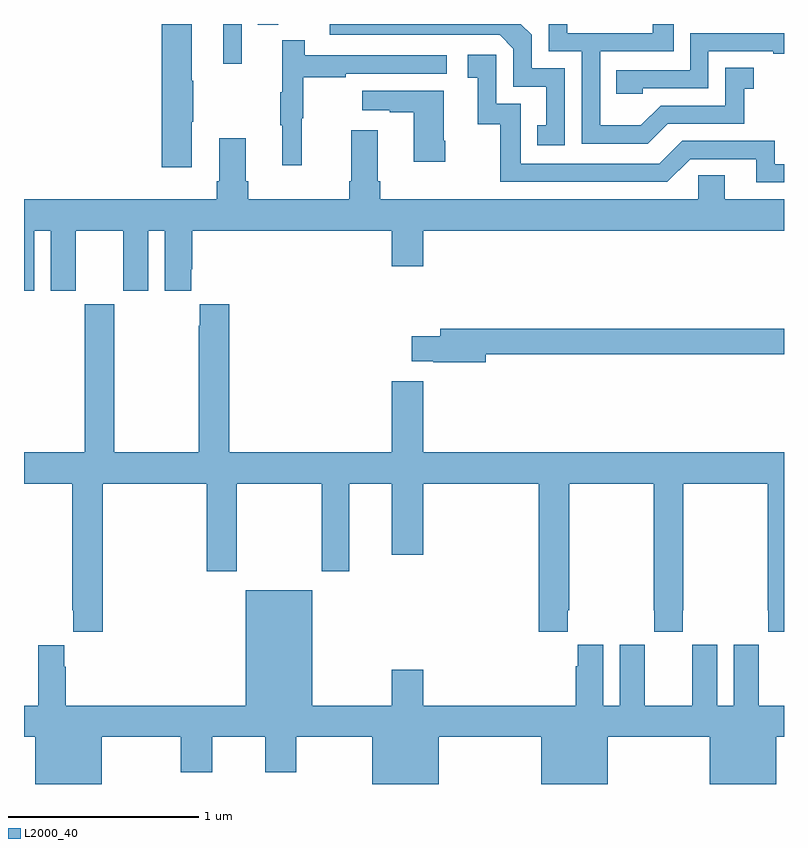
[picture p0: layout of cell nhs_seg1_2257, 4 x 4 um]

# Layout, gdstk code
import gdstk
lib = gdstk.Library(unit=1e-6, precision=1e-09)
def R(c, l, rs):  # rectangles x0, y0, x1, y1
    for r in rs: c.add(gdstk.rectangle(r[:2], r[2:], *l))
def P(c, l, *ps):  # polygons
    for p in ps: c.add(gdstk.Polygon(p, *l))
L2000_40 = (2000, 40)

nhs_seg1_2257 = lib.new_cell('nhs_seg1_2257')
R(nhs_seg1_2257, L2000_40, [(236.048,505.989,236.145,506.199), (236.23,506.194,236.338,506.199)])
P(nhs_seg1_2257, L2000_40, [(237.846,505.965),(237.672,505.965),(237.672,506.142),(237.615,506.199),(236.61,506.199),(236.61,506.142),(237.504,506.142),(237.576,506.07),(237.576,505.869),(237.749,505.869),(237.749,505.665),(237.7,505.665),(237.7,505.56),(237.846,505.56)],
  [(238.387,505.674),(238.791,505.674),(238.791,505.859),(238.84,505.859),(238.84,505.969),(238.692,505.969),(238.692,505.77),(238.35,505.77),(238.246,505.666),(238.032,505.666),(238.032,506.055),(238.421,506.055),(238.421,506.199),(238.31,506.199),(238.31,506.151),(237.859,506.151),(237.859,506.199),(237.762,506.199),(237.762,506.055),(237.936,506.055),(237.936,505.569),(238.282,505.569)],
  [(235.882,505.684),(235.89,505.684),(235.89,505.901),(235.882,505.901),(235.882,506.199),(235.724,506.199),(235.724,505.446),(235.882,505.446)],
  [(238.257,505.86),(238.602,505.86),(238.602,506.055),(238.943,506.055),(238.943,506.043),(239,506.043),(239,506.151),(238.506,506.151),(238.506,505.956),(238.117,505.956),(238.117,505.833),(238.257,505.833)],
  [(236.462,505.704),(236.47,505.704),(236.47,505.918),(236.693,505.918),(236.693,505.938),(237.226,505.938),(237.226,506.034),(236.477,506.034),(236.477,506.113),(236.36,506.113),(236.36,505.841),(236.349,505.841),(236.349,505.667),(236.36,505.667),(236.36,505.455),(236.462,505.455)],
  [(239,505.461),(238.95,505.461),(238.95,505.584),(238.464,505.584),(238.344,505.464),(237.615,505.464),(237.615,505.779),(237.486,505.779),(237.486,506.038),(237.336,506.038),(237.336,505.917),(237.389,505.917),(237.389,505.671),(237.507,505.671),(237.507,505.368),(238.386,505.368),(238.506,505.488),(238.853,505.488),(238.853,505.365),(239,505.365)],
  [(237.216,505.585),(237.208,505.585),(237.208,505.849),(236.781,505.849),(236.781,505.745),(236.924,505.745),(236.924,505.735),(237.05,505.735),(237.05,505.473),(237.216,505.473)],
  [(236.936,504.924),(237.1,504.924),(237.1,505.112),(239,505.112),(239,505.276),(238.687,505.276),(238.687,505.403),(238.548,505.403),(238.548,505.276),(236.876,505.276),(236.876,505.372),(236.863,505.372),(236.863,505.639),(236.723,505.639),(236.723,505.372),(236.711,505.372),(236.711,505.276),(236.18,505.276),(236.18,505.372),(236.167,505.372),(236.167,505.597),(236.027,505.597),(236.027,505.372),(236.015,505.372),(236.015,505.276),(235,505.276),(235,504.795),(235.054,504.795),(235.054,505.112),(235.142,505.112),(235.142,504.795),(235.273,504.795),(235.273,505.112),(235.523,505.112),(235.523,504.795),(235.654,504.795),(235.654,505.112),(235.742,505.112),(235.742,504.795),(235.879,504.795),(235.879,504.907),(235.886,504.907),(235.886,505.112),(236.936,505.112)],
  [(235.415,503.78),(235.961,503.78),(235.961,503.319),(236.121,503.319),(236.121,503.78),(236.566,503.78),(236.566,503.319),(236.713,503.319),(236.713,503.78),(236.936,503.78),(236.936,503.406),(237.1,503.406),(237.1,503.78),(237.71,503.78),(237.71,503.001),(237.863,503.001),(237.863,503.113),(237.87,503.113),(237.87,503.78),(238.315,503.78),(238.315,503.113),(238.317,503.113),(238.317,503.001),(238.467,503.001),(238.467,503.113),(238.47,503.113),(238.47,503.78),(238.915,503.78),(238.915,503.113),(238.917,503.113),(238.917,503.001),(239,503.001),(239,503.944),(237.1,503.944),(237.1,504.319),(236.936,504.319),(236.936,503.944),(236.081,503.944),(236.081,504.724),(235.925,504.724),(235.925,504.611),(235.921,504.611),(235.921,503.944),(235.476,503.944),(235.476,504.724),(235.321,504.724),(235.321,503.944),(235,503.944),(235,503.78),(235.255,503.78),(235.255,503.113),(235.259,503.113),(235.259,503.001),(235.415,503.001)],
  [(237.43,504.46),(239,504.46),(239,504.596),(237.191,504.596),(237.191,504.555),(237.042,504.555),(237.042,504.425),(237.154,504.425),(237.154,504.418),(237.43,504.418)],
  [(235.408,502.448),(235.826,502.448),(235.826,502.26),(235.99,502.26),(235.99,502.448),(236.27,502.448),(236.27,502.26),(236.434,502.26),(236.434,502.448),(236.834,502.448),(236.834,502.199),(237.184,502.199),(237.184,502.448),(237.722,502.448),(237.722,502.199),(238.072,502.199),(238.072,502.448),(238.61,502.448),(238.61,502.199),(238.96,502.199),(238.96,502.448),(239,502.448),(239,502.612),(238.867,502.612),(238.867,502.82),(238.866,502.82),(238.866,502.933),(238.736,502.933),(238.736,502.612),(238.648,502.612),(238.648,502.933),(238.518,502.933),(238.518,502.82),(238.517,502.82),(238.517,502.612),(238.267,502.612),(238.267,502.82),(238.266,502.82),(238.266,502.933),(238.136,502.933),(238.136,502.612),(238.048,502.612),(238.048,502.933),(237.914,502.933),(237.914,502.82),(237.905,502.82),(237.905,502.612),(237.1,502.612),(237.1,502.801),(236.936,502.801),(236.936,502.612),(236.518,502.612),(236.518,503.218),(236.168,503.218),(236.168,502.612),(235.22,502.612),(235.22,502.817),(235.213,502.817),(235.213,502.93),(235.076,502.93),(235.076,502.612),(235,502.612),(235,502.448),(235.058,502.448),(235.058,502.199),(235.408,502.199)])

lib.write_gds('nhs_seg1_2257.gds')
